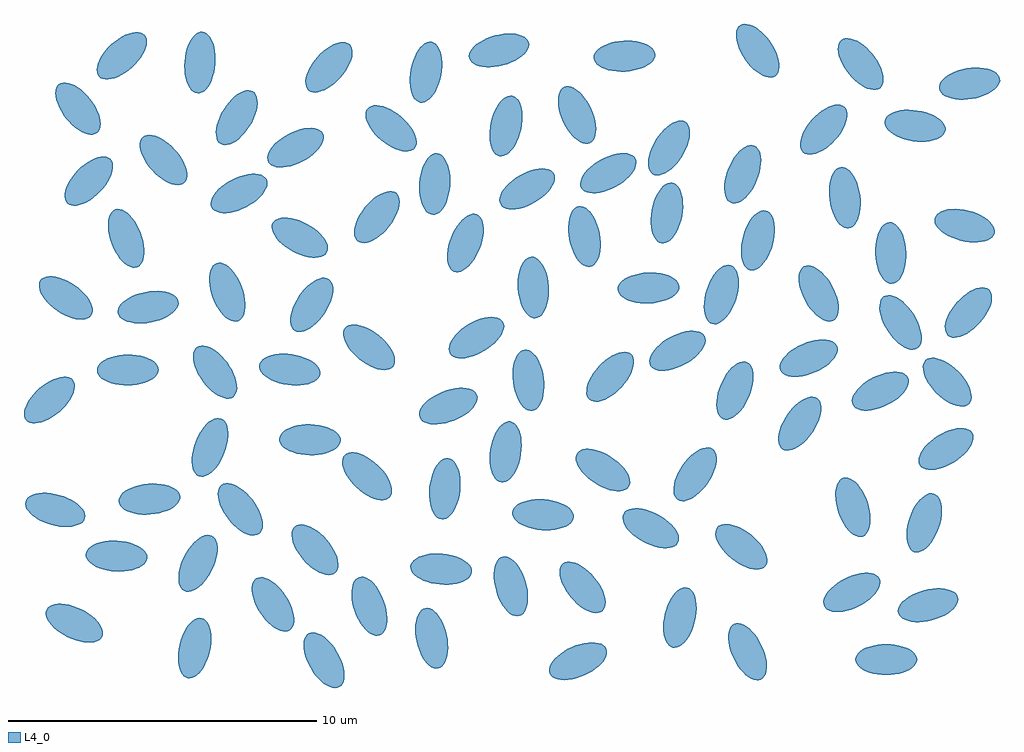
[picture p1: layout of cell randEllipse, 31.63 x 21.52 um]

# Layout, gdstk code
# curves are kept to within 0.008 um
from math import pi, radians
import gdstk
lib = gdstk.Library(unit=1e-6, precision=1e-09)
def P(c, l, *ps):  # polygons
    for p in ps: c.add(gdstk.Polygon(p, *l))
L4_0 = (4, 0)

ellipses = lib.new_cell('ellipses')
P(ellipses, L4_0, [(0,-1),(-0.071,-0.99),(-0.141,-0.959),(-0.208,-0.91),(-0.327,-0.756),(-0.378,-0.655),(-0.421,-0.541),(-0.48,-0.282),(-0.5,0),(-0.48,0.282),(-0.421,0.541),(-0.378,0.655),(-0.327,0.756),(-0.208,0.91),(-0.141,0.959),(-0.071,0.99),(0,1),(0.071,0.99),(0.141,0.959),(0.208,0.91),(0.327,0.756),(0.378,0.655),(0.421,0.541),(0.48,0.282),(0.5,0),(0.48,-0.282),(0.421,-0.541),(0.378,-0.655),(0.327,-0.756),(0.208,-0.91),(0.141,-0.959),(0.071,-0.99)])

randellipse = lib.new_cell('randEllipse')
randellipse.add(gdstk.Reference(ellipses, (0.159,8.544), rotation=radians(310.9468)))
randellipse.add(gdstk.Reference(ellipses, (0.348,4.983), rotation=radians(74.3505)))
randellipse.add(gdstk.Reference(ellipses, (0.693,11.853), rotation=radians(235.4942)))
randellipse.add(gdstk.Reference(ellipses, (0.969,1.313), rotation=radians(244.0581)))
randellipse.add(gdstk.Reference(ellipses, (1.087,17.991), rotation=radians(38.1272)))
randellipse.add(gdstk.Reference(ellipses, (1.437,15.638), rotation=radians(316.0081)))
randellipse.add(gdstk.Reference(ellipses, (2.333,3.487), rotation=radians(86.7097)))
randellipse.add(gdstk.Reference(ellipses, (2.506,19.701), rotation=radians(312.3277)))
randellipse.add(gdstk.Reference(ellipses, (2.646,13.787), rotation=radians(20.7309)))
randellipse.add(gdstk.Reference(ellipses, (2.702,9.519), rotation=radians(270.4161)))
randellipse.add(gdstk.Reference(ellipses, (3.36,11.554), rotation=radians(280.8934)))
randellipse.add(gdstk.Reference(ellipses, (3.401,5.335), rotation=radians(274.8166)))
randellipse.add(gdstk.Reference(ellipses, (3.857,16.324), rotation=radians(42.3332)))
randellipse.add(gdstk.Reference(ellipses, (4.866,0.503), rotation=radians(347.1078)))
randellipse.add(gdstk.Reference(ellipses, (4.978,3.253), rotation=radians(333.3031)))
randellipse.add(gdstk.Reference(ellipses, (5.037,19.484), rotation=radians(355.732)))
randellipse.add(gdstk.Reference(ellipses, (5.364,7.012), rotation=radians(158.9272)))
randellipse.add(gdstk.Reference(ellipses, (5.527,9.452), rotation=radians(215.9288)))
randellipse.add(gdstk.Reference(ellipses, (5.924,12.04), rotation=radians(200.3462)))
randellipse.add(gdstk.Reference(ellipses, (6.23,17.695), rotation=radians(148.3294)))
randellipse.add(gdstk.Reference(ellipses, (6.307,15.242), rotation=radians(117.1808)))
randellipse.add(gdstk.Reference(ellipses, (6.347,5.001), rotation=radians(37.5724)))
randellipse.add(gdstk.Reference(ellipses, (7.405,1.921), rotation=radians(212.7992)))
randellipse.add(gdstk.Reference(ellipses, (7.948,9.529), rotation=radians(261.8866)))
randellipse.add(gdstk.Reference(ellipses, (8.138,16.723), rotation=radians(297.5879)))
randellipse.add(gdstk.Reference(ellipses, (8.275,13.808), rotation=radians(61.4763)))
randellipse.add(gdstk.Reference(ellipses, (8.605,7.255), rotation=radians(268.6134)))
randellipse.add(gdstk.Reference(ellipses, (8.661,11.629), rotation=radians(326.3601)))
randellipse.add(gdstk.Reference(ellipses, (8.766,3.693), rotation=radians(41.1658)))
randellipse.add(gdstk.Reference(ellipses, (9.059,0.112), rotation=radians(209.8184)))
randellipse.add(gdstk.Reference(ellipses, (9.22,19.329), rotation=radians(138.272)))
randellipse.add(gdstk.Reference(ellipses, (10.454,6.074), rotation=radians(226.6832)))
randellipse.add(gdstk.Reference(ellipses, (10.52,10.254), rotation=radians(51.04)))
randellipse.add(gdstk.Reference(ellipses, (10.528,1.859), rotation=radians(199.3546)))
randellipse.add(gdstk.Reference(ellipses, (10.773,14.474), rotation=radians(321.4842)))
randellipse.add(gdstk.Reference(ellipses, (11.235,17.348), rotation=radians(49.7973)))
randellipse.add(gdstk.Reference(ellipses, (12.362,19.17), rotation=radians(349.2071)))
randellipse.add(gdstk.Reference(ellipses, (12.548,0.824), rotation=radians(12.1028)))
randellipse.add(gdstk.Reference(ellipses, (12.65,15.543), rotation=radians(176.0716)))
randellipse.add(gdstk.Reference(ellipses, (12.858,3.065), rotation=radians(264.8924)))
randellipse.add(gdstk.Reference(ellipses, (12.975,5.668), rotation=radians(173.9601)))
randellipse.add(gdstk.Reference(ellipses, (13.086,8.346), rotation=radians(111.3811)))
randellipse.add(gdstk.Reference(ellipses, (13.641,13.632), rotation=radians(338.2235)))
randellipse.add(gdstk.Reference(ellipses, (13.998,10.568), rotation=radians(120.9631)))
randellipse.add(gdstk.Reference(ellipses, (14.731,19.877), rotation=radians(104.9062)))
randellipse.add(gdstk.Reference(ellipses, (14.948,6.863), rotation=radians(351.4693)))
randellipse.add(gdstk.Reference(ellipses, (14.956,17.425), rotation=radians(167.8671)))
randellipse.add(gdstk.Reference(ellipses, (15.116,2.509), rotation=radians(15.6715)))
randellipse.add(gdstk.Reference(ellipses, (15.644,15.387), rotation=radians(120.2022)))
randellipse.add(gdstk.Reference(ellipses, (15.685,9.182), rotation=radians(7.1693)))
randellipse.add(gdstk.Reference(ellipses, (15.843,12.194), rotation=radians(3.7191)))
randellipse.add(gdstk.Reference(ellipses, (16.157,4.827), rotation=radians(265.6404)))
randellipse.add(gdstk.Reference(ellipses, (17.259,17.782), rotation=radians(24.5778)))
randellipse.add(gdstk.Reference(ellipses, (17.294,0.081), rotation=radians(113.7967)))
randellipse.add(gdstk.Reference(ellipses, (17.439,2.473), rotation=radians(39.6557)))
randellipse.add(gdstk.Reference(ellipses, (17.5,13.843), rotation=radians(10.682)))
randellipse.add(gdstk.Reference(ellipses, (18.1,6.276), rotation=radians(56.913)))
randellipse.add(gdstk.Reference(ellipses, (18.272,15.896), rotation=radians(118.6465)))
randellipse.add(gdstk.Reference(ellipses, (18.335,9.299), rotation=radians(317.3593)))
randellipse.add(gdstk.Reference(ellipses, (18.795,19.69), rotation=radians(273.1018)))
randellipse.add(gdstk.Reference(ellipses, (19.575,12.176), rotation=radians(92.5809)))
randellipse.add(gdstk.Reference(ellipses, (19.65,4.387), rotation=radians(61.7306)))
randellipse.add(gdstk.Reference(ellipses, (20.172,14.607), rotation=radians(349.7675)))
randellipse.add(gdstk.Reference(ellipses, (20.242,16.712), rotation=radians(148.0992)))
randellipse.add(gdstk.Reference(ellipses, (20.515,10.14), rotation=radians(298.4621)))
randellipse.add(gdstk.Reference(ellipses, (20.593,1.493), rotation=radians(166.5948)))
randellipse.add(gdstk.Reference(ellipses, (21.086,6.136), rotation=radians(325.6739)))
randellipse.add(gdstk.Reference(ellipses, (21.936,11.963), rotation=radians(162.4193)))
randellipse.add(gdstk.Reference(ellipses, (22.378,8.853), rotation=radians(337.4825)))
randellipse.add(gdstk.Reference(ellipses, (22.587,3.789), rotation=radians(231.2796)))
randellipse.add(gdstk.Reference(ellipses, (22.627,15.858), rotation=radians(337.8989)))
randellipse.add(gdstk.Reference(ellipses, (22.786,0.387), rotation=radians(205.7932)))
randellipse.add(gdstk.Reference(ellipses, (23.115,19.866), rotation=radians(214.7219)))
randellipse.add(gdstk.Reference(ellipses, (23.123,13.721), rotation=radians(164.9977)))
randellipse.add(gdstk.Reference(ellipses, (24.479,7.779), rotation=radians(145.7673)))
randellipse.add(gdstk.Reference(ellipses, (24.771,9.9), rotation=radians(113.3372)))
randellipse.add(gdstk.Reference(ellipses, (25.093,11.999), rotation=radians(208.5854)))
randellipse.add(gdstk.Reference(ellipses, (25.256,17.309), rotation=radians(137.8576)))
randellipse.add(gdstk.Reference(ellipses, (25.94,15.102), rotation=radians(187.2046)))
randellipse.add(gdstk.Reference(ellipses, (26.165,2.31), rotation=radians(116.9637)))
randellipse.add(gdstk.Reference(ellipses, (26.2,5.07), rotation=radians(198.226)))
randellipse.add(gdstk.Reference(ellipses, (26.452,19.435), rotation=radians(218.9731)))
randellipse.add(gdstk.Reference(ellipses, (27.092,8.832), rotation=radians(296.5772)))
randellipse.add(gdstk.Reference(ellipses, (27.28,0.134), rotation=radians(269.9895)))
randellipse.add(gdstk.Reference(ellipses, (27.426,13.309), rotation=radians(2.3506)))
randellipse.add(gdstk.Reference(ellipses, (27.745,11.059), rotation=radians(32.5527)))
randellipse.add(gdstk.Reference(ellipses, (28.216,17.434), rotation=radians(261.4802)))
randellipse.add(gdstk.Reference(ellipses, (28.512,4.565), rotation=radians(341.5102)))
randellipse.add(gdstk.Reference(ellipses, (28.637,1.895), rotation=radians(284.7387)))
randellipse.add(gdstk.Reference(ellipses, (29.217,6.959), rotation=radians(302.0741)))
randellipse.add(gdstk.Reference(ellipses, (29.259,9.125), rotation=radians(44.989)))
randellipse.add(gdstk.Reference(ellipses, (29.824,14.195), rotation=radians(255.7425)))
randellipse.add(gdstk.Reference(ellipses, (29.947,11.381), rotation=radians(318.2464)))
randellipse.add(gdstk.Reference(ellipses, (29.98,18.799), rotation=radians(99.4046)))

lib.write_gds('randEllipse.gds')
